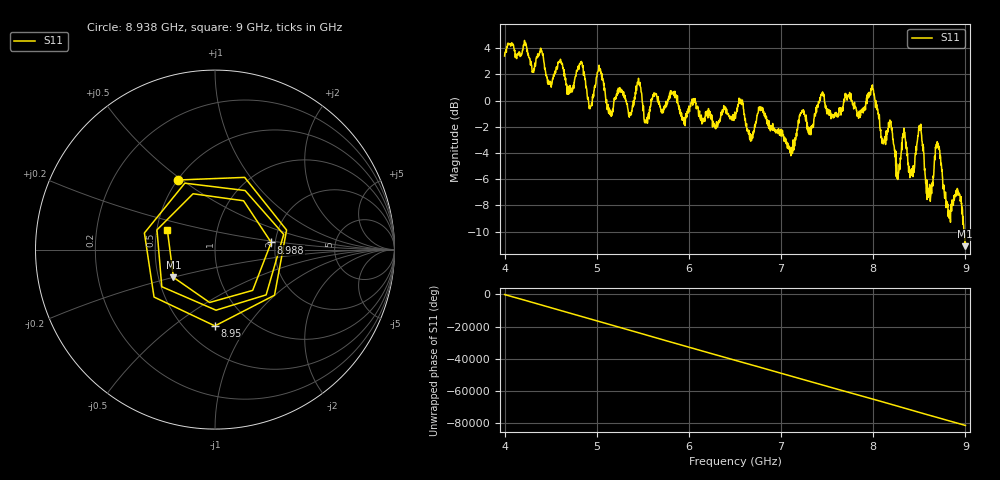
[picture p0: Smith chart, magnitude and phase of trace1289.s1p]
! Created with skrf 1.8.0 (http://scikit-rf.org).
# Hz S RI R 50.0
!freq ReS11 ImS11
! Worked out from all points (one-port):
!   1601 points, 4 GHz to 9 GHz, reference 50 ohm
!   lowest |S11| = -11.1 dB at 8.997 GHz (marker M1), VSWR 1.77, Z = 29.9 - j10 ohm
!   |S11| at or under -10 dB: 8.98385 GHz to end of sweep
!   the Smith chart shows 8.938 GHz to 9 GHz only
!   S11 on the Smith chart (normalised r, x): 8.938 GHz: 0.50, +0.48; 8.95 GHz: 0.69, -0.72; 8.988 GHz: 1.90, +0.17; 9 GHz: 0.57, +0.13
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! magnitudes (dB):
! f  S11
! 4 GHz  3.4
! 4.625 GHz  2.8
! 4.716 GHz  0.6
! 4.838 GHz  2.9
! 4.925 GHz  -0.4
! 5.025 GHz  2.7
! 5.138 GHz  -0.7
! 5.25 GHz  1.0
! 5.459 GHz  1.3
! 5.538 GHz  -1.7
! 5.875 GHz  0.4
! 6.5 GHz  -1.0
! 7.125 GHz  -4.0
! 7.225 GHz  -0.9
! 7.75 GHz  0.1
! 7.991 GHz  1.2
! 8.262 GHz  -5.6
! 8.331 GHz  -2.3
! 8.375 GHz  -4.6
! 8.506 GHz  -2.0
! 8.6 GHz  -7.3
! 8.697 GHz  -3.2
! 8.812 GHz  -8.8
! 8.938 GHz  -7.1
! 8.95 GHz  -7.4
! 8.988 GHz  -10.0
! 8.997 GHz  -11.1
! 9 GHz  -10.9
